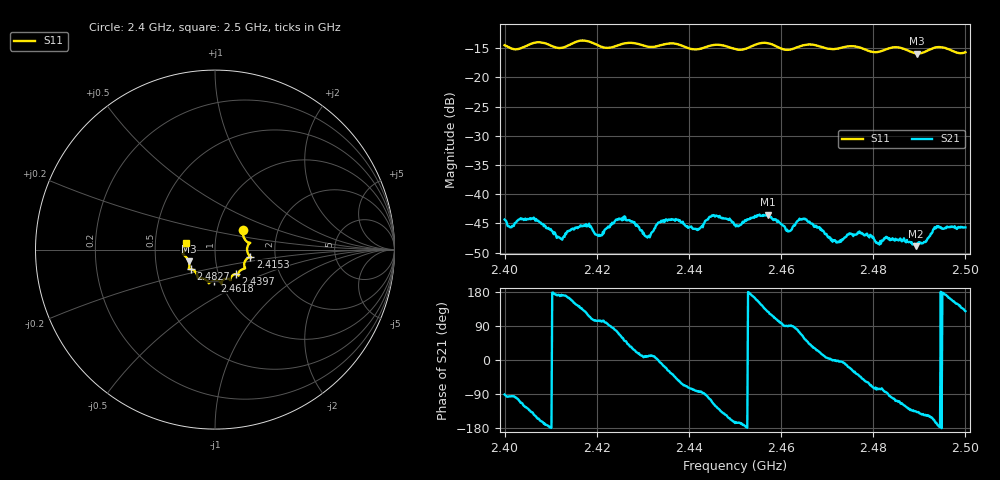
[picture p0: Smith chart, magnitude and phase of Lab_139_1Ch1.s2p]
# Hz S RI R 50
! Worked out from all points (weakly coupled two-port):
!   601 points, 2.4 GHz to 2.5 GHz, reference 50 ohm
!   highest |S21| = -43.49 dB at 2.4572 GHz (marker M1); lowest = -48.9 dB at 2.4893 GHz (marker M2)
!   lowest |S11| = -15.9 dB at 2.4895 GHz (marker M3), VSWR 1.38, Z = 37 - j5.01 ohm
!   |S11| at or under -10 dB: start of sweep to end of sweep
!   S12 and S22 are empty: the file has one direction only
!   S11 on the Smith chart (normalised r, x): 2.4 GHz: 1.33, +0.30; 2.4153 GHz: 1.48, -0.12; 2.4397 GHz: 1.21, -0.34; 2.4618 GHz: 0.94, -0.33; 2.4827 GHz: 0.75, -0.17; 2.5 GHz: 0.72, +0.06
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2.4e9  0.1553 0.107  -0.000109 -0.00607  0 0  0 0
2.406333e9  0.1939 0.0374  -0.00511 -0.00369  0 0  0 0
2.412167e9  0.1785 -0.00262  -0.0041 0.000749  0 0  0 0
2.415333e9  0.1966 -0.0396  -0.00438 0.00274  0 0  0 0
2.416667e9  0.2022 -0.0436  -0.00389 0.00362  0 0  0 0
2.420667e9  0.1782 -0.0503  -0.000964 0.00428  0 0  0 0
2.425667e9  0.1664 -0.1003  0.00334 0.00537  0 0  0 0
2.431e9  0.1426 -0.1155  0.00419 0.000678  0 0  0 0
2.433333e9  0.1298 -0.1338  0.0057 -1.67e-06  0 0  0 0
2.439667e9  0.117 -0.136  0.00176 -0.00502  0 0  0 0
2.4455e9  0.0842 -0.17  -0.00303 -0.00584  0 0  0 0
2.45e9  0.0654 -0.1622  -0.00531 -0.00129  0 0  0 0
2.457167e9  0.0389 -0.1925  -0.00406 0.00532  0 0  0 0
2.461833e9  -0.00345 -0.1728  -1.48e-05 0.00482  0 0  0 0
2.466667e9  -0.0348 -0.1879  0.00453 0.00328  0 0  0 0
2.472167e9  -0.0718 -0.1608  0.00391 -0.000174  0 0  0 0
2.482667e9  -0.1348 -0.1087  0.000417 -0.00416  0 0  0 0
2.483333e9  -0.14 -0.1083  -0.000147 -0.0041  0 0  0 0
2.489333e9  -0.1453 -0.0687  -0.0026 -0.00247  0 0  0 0
2.4895e9  -0.1457 -0.066  -0.00279 -0.00255  0 0  0 0
2.493667e9  -0.1796 -0.0237  -0.00498 -0.00127  0 0  0 0
2.5e9  -0.1596 0.0386  -0.00326 0.00405  0 0  0 0
